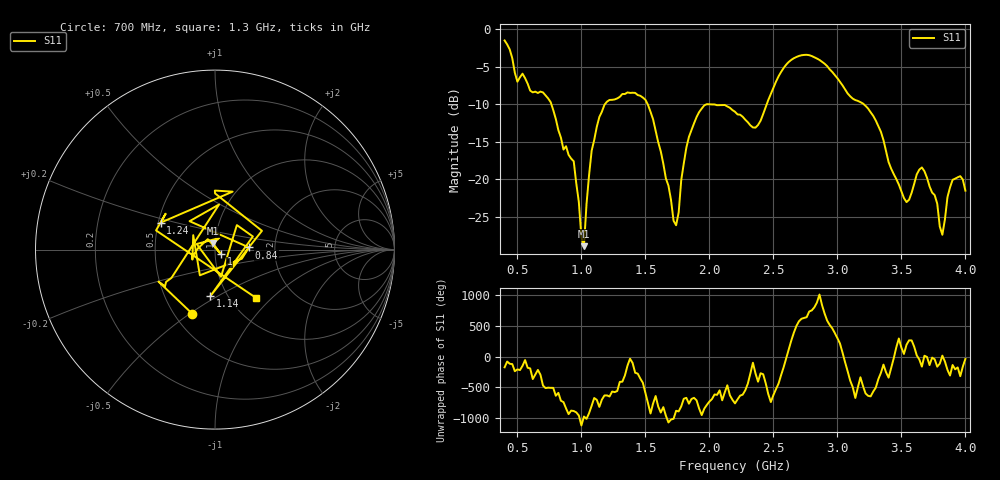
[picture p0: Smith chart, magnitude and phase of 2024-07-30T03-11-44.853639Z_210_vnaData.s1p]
!Created with skrf (http://scikit-rf.org).
# Hz S RI R 50.0
!freq ReS11 ImS11
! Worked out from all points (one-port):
!   181 points, 400 MHz to 4 GHz, reference 50 ohm
!   lowest |S11| = -28.9 dB at 1.02 GHz (marker M1), VSWR 1.07, Z = 48.8 + j3.36 ohm
!   |S11| at or under -10 dB: 1.518 GHz to 1.98 GHz (462 MHz wide, 26.4 % of centre); 1.983 GHz to 2.448 GHz (464.9 MHz wide, 21 % of centre); 3.205 GHz to end of sweep (the widest 3 of 4)
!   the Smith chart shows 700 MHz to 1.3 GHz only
!   S11 on the Smith chart (normalised r, x): 700 MHz: 0.61, -0.51; 840 MHz: 1.47, +0.04; 1 GHz: 1.07, -0.05; 1.14 GHz: 0.83, -0.46; 1.24 GHz: 0.51, +0.17; 1.3 GHz: 1.31, -0.81
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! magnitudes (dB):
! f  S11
! 400 MHz  -1.5
! 500 MHz  -7.0
! 700 MHz  -8.4
! 840 MHz  -14.4
! 860 MHz  -16.0
! 940 MHz  -17.6
! 1 GHz  -27.7
! 1.02 GHz  -28.9
! 1.08 GHz  -16.2
! 1.14 GHz  -11.7
! 1.24 GHz  -9.4
! 1.3 GHz  -9.0
! 1.5 GHz  -9.4
! 1.72 GHz  -25.5
! 1.76 GHz  -24.4
! 1.82 GHz  -15.8
! 1.92 GHz  -11.0
! 2.2 GHz  -11.0
! 2.36 GHz  -13.1
! 2.66 GHz  -3.9
! 2.86 GHz  -4.1
! 3.1 GHz  -9.0
! 3.28 GHz  -11.6
! 3.56 GHz  -22.7
! 3.66 GHz  -18.4
! 3.82 GHz  -27.4
! 3.9 GHz  -20.0
! 4 GHz  -21.5
